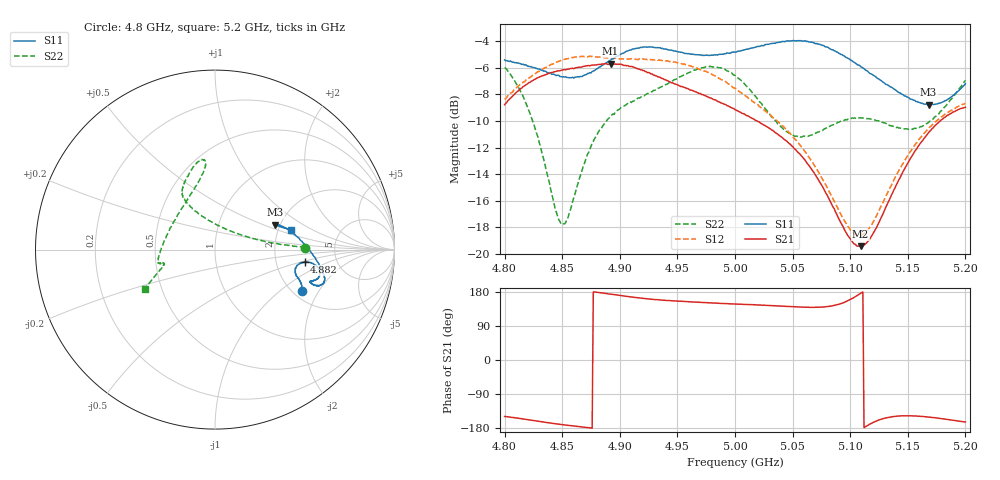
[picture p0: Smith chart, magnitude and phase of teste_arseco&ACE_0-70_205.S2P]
! Network Analyzer HP8722D
! Hewlett-Packard
! Data name: Linha & Wilkinson
! Saver's name: Rodrigo Anjos
! Comments: Teste da utilização de aquisição
! continua pelo VNA HP8722D
! Time and date: 8/5/2025 14:28
!  Frequency  S11  S21  S12  S22
# HZ  S  MA R 50
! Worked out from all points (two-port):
!   401 points, 4.8 GHz to 5.2 GHz, reference 50 ohm
!   highest |S21| = -5.68 dB at 4.892 GHz (marker M1); lowest = -19.4 dB at 5.109 GHz (marker M2)
!   |S21| within 3 dB of the highest: 4.801 GHz to 4.989 GHz (188.3 MHz wide, 3.85 % of centre)
!   lowest |S11| = -8.8 dB at 5.168 GHz (marker M3), VSWR 2.15, Z = 94.4 + j30.3 ohm
!   |S11| at or under -10 dB: nowhere
!   |S22| runs from -17.8 to -5.9 dB; largest |S21 - S12| = 1.1
!   S11 on the Smith chart (normalised r, x): 4.8 GHz: 2.24, -1.45; 4.882 GHz: 2.92, -0.54; 5.2 GHz: 2.34, +0.64
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4.8e9  0.5372 -25.4  0.3641 -149.0  0.3825 10.5  0.5026 1.3
4.812e9  0.5225 -22.2  0.4108 -153.7  0.4285 8.9  0.4233 2.7
4.823e9  0.5067 -20.4  0.4458 -158.8  0.4642 7.1  0.3284 6.3
4.848e9  0.465 -16.3  0.4882 -169.7  0.5327 3.3  0.1326 54.4
4.854e9  0.4615 -14.7  0.4946 -172.1  0.5422 2.4  0.1345 80.7
4.867e9  0.4647 -11.0  0.5045 -176.7  0.5525 0.2  0.2053 112.0
4.882e9  0.5043 -7.9  0.516 177.9  0.5511 -0.7  0.2908 120.7
4.892e9  0.5348 -7.7  0.5202 173.8  0.5441 -1.0  0.3283 121.1
4.913e9  0.5915 -10.8  0.5023 165.2  0.5399 -0.5  0.3785 118.9
4.934e9  0.5972 -15.7  0.4629 158.6  0.5369 -1.4  0.4208 113.0
4.976e9  0.5597 -18.7  0.3899 151.3  0.4824 -5.2  0.5071 98.7
5e9  0.5747 -19.5  0.3489 147.7  0.4202 -5.2  0.47 96.6
5.044e9  0.6305 -17.6  0.2675 141.6  0.2948 2.9  0.2901 131.3
5.067e9  0.6258 -13.4  0.2068 139.0  0.2225 9.4  0.2809 164.4
5.098e9  0.5442 -2.8  0.1171 156.4  0.1269 37.3  0.3215 -170.5
5.109e9  0.5069 2.4  0.1069 175.9  0.1173 59.0  0.3255 -167.2
5.118e9  0.476 6.7  0.1156 -167.9  0.1278 76.3  0.3214 -166.2
5.134e9  0.4281 14.5  0.1598 -150.8  0.1755 94.8  0.3041 -165.8
5.152e9  0.3827 20.9  0.2275 -147.2  0.242 101.3  0.2955 -164.3
5.168e9  0.3645 22.4  0.2862 -150.7  0.2965 102.5  0.3123 -161.1
5.183e9  0.3775 20.2  0.3282 -156.3  0.3373 102.4  0.3602 -156.6
5.2e9  0.4363 14.8  0.3562 -163.8  0.3685 102.8  0.4498 -150.7
